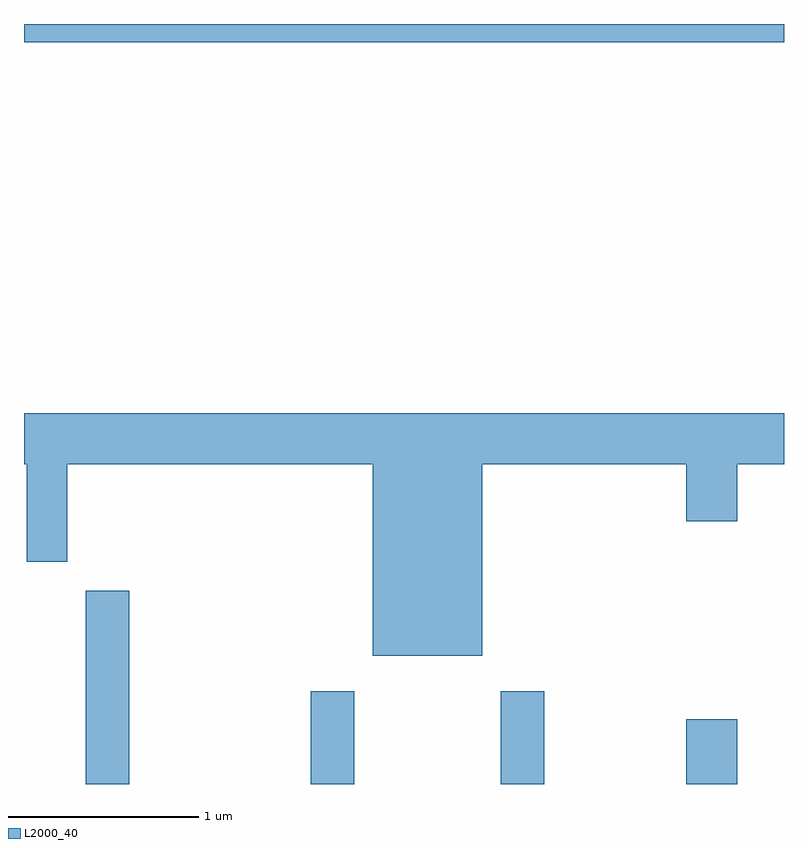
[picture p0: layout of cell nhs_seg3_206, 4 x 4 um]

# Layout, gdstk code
import gdstk
lib = gdstk.Library(unit=1e-6, precision=1e-09)
def R(c, l, rs):  # rectangles x0, y0, x1, y1
    for r in rs: c.add(gdstk.rectangle(r[:2], r[2:], *l))
def P(c, l, *ps):  # polygons
    for p in ps: c.add(gdstk.Polygon(p, *l))
L2000_40 = (2000, 40)

nhs_seg3_206 = lib.new_cell('nhs_seg3_206')
R(nhs_seg3_206, L2000_40, [(191.936,1119.892,192.164,1120.909), (193.121,1119.892,193.349,1120.379), (194.121,1119.892,194.349,1120.379), (195.096,1119.892,195.364,1120.234), (191.611,1123.796,195.611,1123.892)])
P(nhs_seg3_206, L2000_40, [(194.024,1121.576),(195.096,1121.576),(195.096,1121.276),(195.364,1121.276),(195.364,1121.576),(195.611,1121.576),(195.611,1121.844),(191.611,1121.844),(191.611,1121.576),(191.626,1121.576),(191.626,1121.061),(191.839,1121.061),(191.839,1121.576),(193.446,1121.576),(193.446,1120.566),(194.024,1120.566)])

lib.write_gds('nhs_seg3_206.gds')
